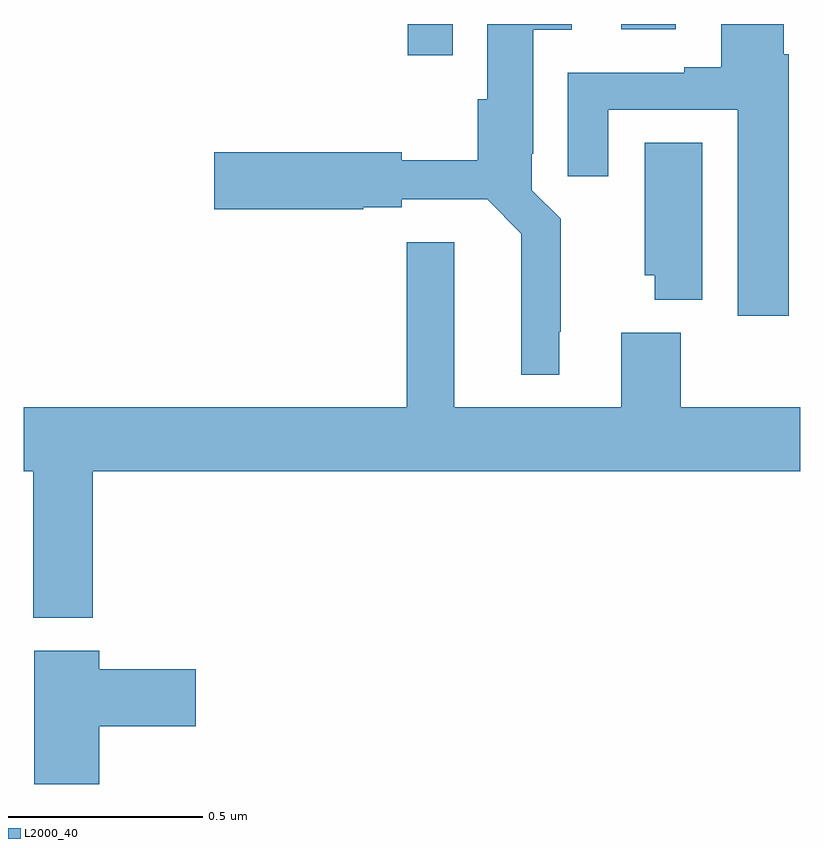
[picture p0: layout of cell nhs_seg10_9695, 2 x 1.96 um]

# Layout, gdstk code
import gdstk
lib = gdstk.Library(unit=1e-6, precision=1e-09)
def R(c, l, rs):  # rectangles x0, y0, x1, y1
    for r in rs: c.add(gdstk.rectangle(r[:2], r[2:], *l))
def P(c, l, *ps):  # polygons
    for p in ps: c.add(gdstk.Polygon(p, *l))
L2000_40 = (2000, 40)

nhs_seg10_9695 = lib.new_cell('nhs_seg10_9695')
R(nhs_seg10_9695, L2000_40, [(233.989,1269.42,234.105,1269.5), (234.539,1269.486,234.679,1269.5)])
P(nhs_seg10_9695, L2000_40, [(234.379,1268.707),(234.383,1268.707),(234.383,1268.998),(234.309,1269.072),(234.309,1269.166),(234.313,1269.166),(234.313,1269.485),(234.412,1269.485),(234.412,1269.5),(234.194,1269.5),(234.194,1269.306),(234.169,1269.306),(234.169,1269.149),(233.974,1269.149),(233.974,1269.17),(233.49,1269.17),(233.49,1269.023),(233.874,1269.023),(233.874,1269.028),(233.974,1269.028),(233.974,1269.048),(234.194,1269.048),(234.282,1268.96),(234.282,1268.858),(234.281,1268.858),(234.281,1268.597),(234.379,1268.597)],
  [(234.971,1269.422),(234.958,1269.422),(234.958,1269.5),(234.797,1269.5),(234.797,1269.388),(234.701,1269.388),(234.701,1269.375),(234.401,1269.375),(234.401,1269.108),(234.505,1269.108),(234.505,1269.279),(234.839,1269.279),(234.839,1268.748),(234.971,1268.748)],
  [(234.748,1269.194),(234.599,1269.194),(234.599,1268.853),(234.626,1268.853),(234.626,1268.789),(234.748,1268.789)],
  [(233.177,1268.348),(235,1268.348),(235,1268.512),(234.692,1268.512),(234.692,1268.704),(234.539,1268.704),(234.539,1268.512),(234.109,1268.512),(234.109,1268.938),(233.987,1268.938),(233.987,1268.512),(233,1268.512),(233,1268.348),(233.024,1268.348),(233.024,1267.97),(233.177,1267.97)],
  [(233.194,1267.691),(233.443,1267.691),(233.443,1267.838),(233.194,1267.838),(233.194,1267.885),(233.027,1267.885),(233.027,1267.542),(233.194,1267.542)])

lib.write_gds('nhs_seg10_9695.gds')
